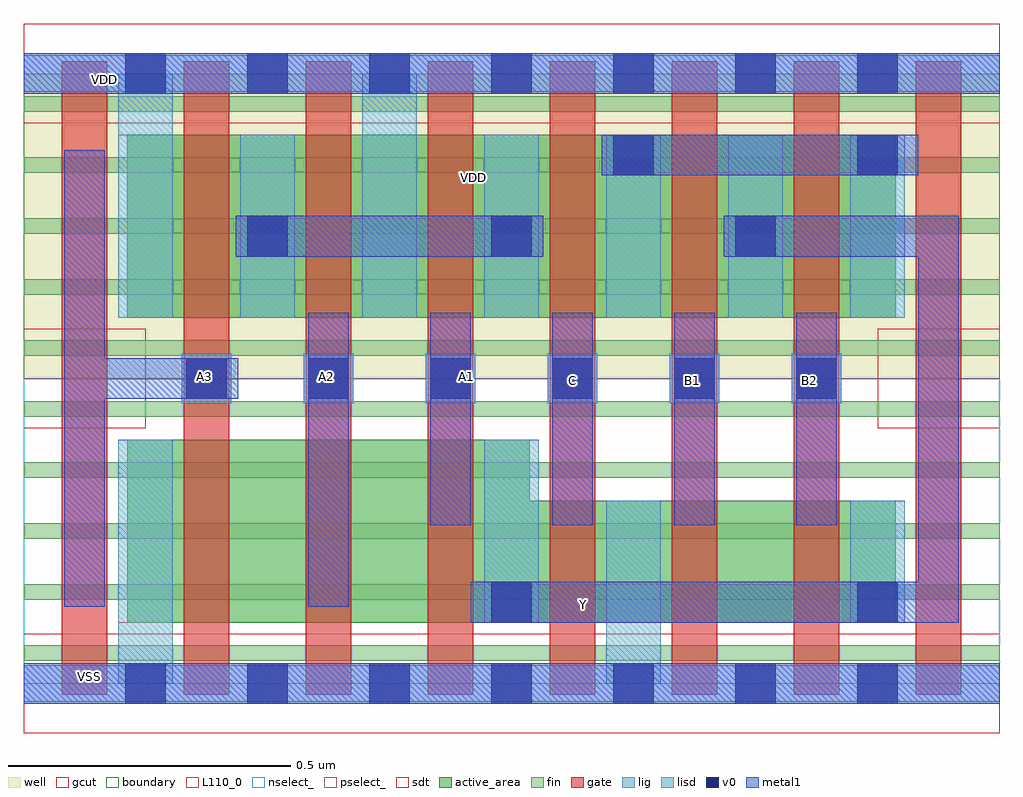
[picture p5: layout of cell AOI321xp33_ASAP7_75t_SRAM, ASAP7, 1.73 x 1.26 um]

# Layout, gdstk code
import gdstk
lib = gdstk.Library(unit=1e-6, precision=2.5e-10)
def R(c, l, rs):  # rectangles x0, y0, x1, y1
    for r in rs: c.add(gdstk.rectangle(r[:2], r[2:], *l))
def A(c, l, x, y, w, h, nx, ny, dx, dy):  # array of equal rectangles
    R(c, l, [(x+i*dx, y+j*dy, x+i*dx+w, y+j*dy+h) for i in range(nx) for j in range(ny)])
def P(c, l, *ps):  # polygons
    for p in ps: c.add(gdstk.Polygon(p, *l))
well = (1, 0)
fin = (2, 0)
gate = (7, 0)
gcut = (10, 0)
active_area = (11, 0)
nselect_ = (12, 0)
pselect_ = (13, 0)
lig = (16, 0)
lisd = (17, 0)
v0 = (18, 0)
metal1 = (19, 0)
sdt = (88, 0)
boundary = (100, 0)
L110_0 = (110, 0)

aoi321xp33_asap7_75t_sra = lib.new_cell('AOI321xp33_ASAP7_75t_SRAM')
R(aoi321xp33_asap7_75t_sra, well, [(0,0.54,1.728,1.08)])
A(aoi321xp33_asap7_75t_sra, fin, 0, 0.04, 1.728, 0.028, 1, 10, 0, 0.108)
A(aoi321xp33_asap7_75t_sra, gate, 0.068, -0.02, 0.08, 1.122, 7, 1, 0.216, 0)
R(aoi321xp33_asap7_75t_sra, gate, [(1.364,-0.02,1.444,1.102), (1.58,-0.02,1.66,1.102)])
R(aoi321xp33_asap7_75t_sra, gcut, [(0,-0.088,1.728,0.088), (0,0.452,0.216,0.628), (1.512,0.452,1.728,0.628), (0,0.992,1.728,1.168)])
R(aoi321xp33_asap7_75t_sra, active_area, [(0.184,0.648,1.544,0.972)])
P(aoi321xp33_asap7_75t_sra, active_area, [(1.544,0.324),(0.896,0.324),(0.896,0.432),(0.184,0.432),(0.184,0.108),(1.544,0.108)])
R(aoi321xp33_asap7_75t_sra, nselect_, [(0,0,1.728,0.54)])
R(aoi321xp33_asap7_75t_sra, pselect_, [(0,0.54,1.728,1.08)])
A(aoi321xp33_asap7_75t_sra, lig, 0.28, 0.496, 0.088, 0.088, 6, 1, 0.216, 0)
R(aoi321xp33_asap7_75t_sra, lig, [(0,-0.032,1.728,0.032), (0,1.048,1.728,1.112)])
A(aoi321xp33_asap7_75t_sra, lisd, 0.816, 0.648, 0.096, 0.324, 4, 1, 0.216, 0)
R(aoi321xp33_asap7_75t_sra, lisd, [(0.168,0,0.264,0.432), (1.032,0,1.128,0.324), (0.816,0.108,0.912,0.432), (1.464,0.108,1.56,0.324), (0.168,0.648,0.264,1.08), (0.384,0.648,0.48,0.972), (0.6,0.648,0.696,1.08)])
A(aoi321xp33_asap7_75t_sra, v0, 0.18, -0.036, 0.072, 0.072, 7, 2, 0.216, 1.08)
A(aoi321xp33_asap7_75t_sra, v0, 0.288, 0.504, 0.072, 0.072, 6, 1, 0.216, 0)
A(aoi321xp33_asap7_75t_sra, v0, 0.396, 0.756, 0.072, 0.072, 3, 1, 0.432, 0)
R(aoi321xp33_asap7_75t_sra, v0, [(0.828,0.108,0.9,0.18), (1.476,0.108,1.548,0.18), (1.044,0.9,1.116,0.972), (1.476,0.9,1.548,0.972)])
A(aoi321xp33_asap7_75t_sra, metal1, 0.72, 0.28, 0.072, 0.376, 4, 1, 0.216, 0)
R(aoi321xp33_asap7_75t_sra, metal1, [(0,-0.036,1.728,0.036), (0.504,0.136,0.576,0.656), (1.584,0.28,1.656,0.796), (0.376,0.756,0.92,0.828), (1.024,0.9,1.584,0.972), (0,1.044,1.728,1.116)])
P(aoi321xp33_asap7_75t_sra, metal1, [(1.656,0.828),(1.24,0.828),(1.24,0.756),(1.584,0.756),(1.584,0.18),(0.792,0.18),(0.792,0.108),(1.656,0.108)],
  [(0.38,0.576),(0.144,0.576),(0.144,0.944),(0.072,0.944),(0.072,0.136),(0.144,0.136),(0.144,0.504),(0.38,0.504)])
A(aoi321xp33_asap7_75t_sra, sdt, 0.168, 0.648, 0.096, 0.324, 7, 1, 0.216, 0)
R(aoi321xp33_asap7_75t_sra, sdt, [(0.168,0.108,0.264,0.432), (0.816,0.108,0.912,0.432), (1.032,0.108,1.128,0.324), (1.464,0.108,1.56,0.324)])
R(aoi321xp33_asap7_75t_sra, boundary, [(0,0,1.728,1.08)])
R(aoi321xp33_asap7_75t_sra, L110_0, [(0,0,1.728,1.08)])
aoi321xp33_asap7_75t_sra.add(gdstk.Label('VSS', (0.444,-0.156), layer=3, texttype=251))
aoi321xp33_asap7_75t_sra.add(gdstk.Label('VDD', (0.796,0.896), layer=1, texttype=251))
aoi321xp33_asap7_75t_sra.add(gdstk.Label('B2', (1.392,0.536), layer=19, texttype=251))
aoi321xp33_asap7_75t_sra.add(gdstk.Label('A3', (0.32,0.544), layer=19, texttype=251))
aoi321xp33_asap7_75t_sra.add(gdstk.Label('B1', (1.184,0.536), layer=19, texttype=251))
aoi321xp33_asap7_75t_sra.add(gdstk.Label('VSS', (0.116,0.012), layer=19, texttype=251))
aoi321xp33_asap7_75t_sra.add(gdstk.Label('C', (0.972,0.536), layer=19, texttype=251))
aoi321xp33_asap7_75t_sra.add(gdstk.Label('A2', (0.536,0.544), layer=19, texttype=251))
aoi321xp33_asap7_75t_sra.add(gdstk.Label('A1', (0.784,0.544), layer=19, texttype=251))
aoi321xp33_asap7_75t_sra.add(gdstk.Label('Y', (0.992,0.14), layer=19, texttype=251))
aoi321xp33_asap7_75t_sra.add(gdstk.Label('VDD', (0.144,1.07), layer=19, texttype=251))

lib.write_gds('AOI321xp33_ASAP7_75t_SRAM.gds')
